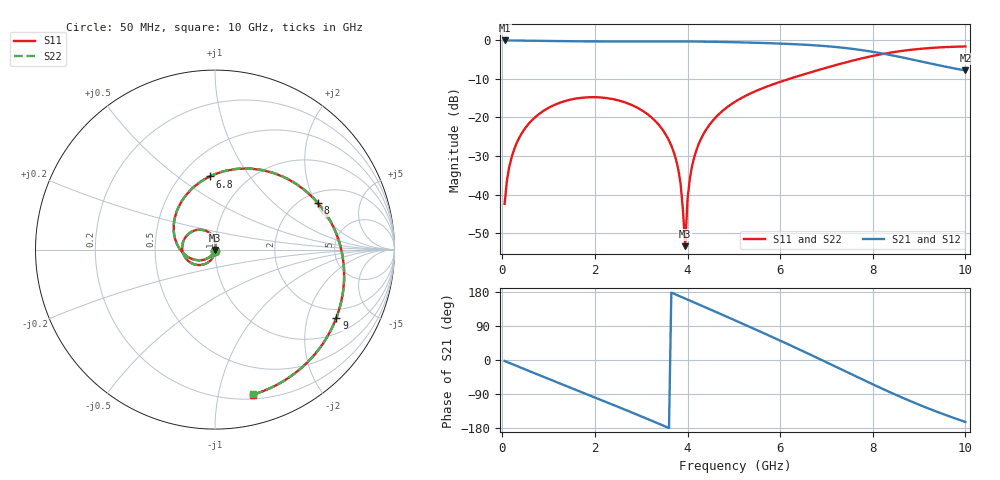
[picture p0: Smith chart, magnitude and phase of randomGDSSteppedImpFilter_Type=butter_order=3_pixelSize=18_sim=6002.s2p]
! freq	dB(S11)	phase(S11)	dB(S12)	phase(S12)
!  dB(S21)	phase(S21)	dB(S22)	phase(S22)
!S-par simulation data
#  GHz  S  DB  R 50
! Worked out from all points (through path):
!   200 points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, 50 MHz to 10 GHz, reference 50 ohm
!   highest |S21| = -0.01 dB at 50 MHz (marker M1); lowest = -7.8 dB at 10 GHz (marker M2)
!   group delay of S21, straight-line fit = 149 ps
!   lowest |S11| = -53.4 dB at 3.95 GHz (marker M3), VSWR 1.00, Z = 50.1 - j0.162 ohm
!   |S11| at or under -10 dB: start of sweep to 6.192 GHz
!   |S22| runs from -53.2 to -1.6 dB; largest |S21 - S12| = 0
!   S11 on the Smith chart (normalised r, x): 50 MHz: 1.00, -0.02; 6.8 GHz: 0.68, +0.67; 8 GHz: 2.42, +2.08; 9 GHz: 1.60, -3.05; 10 GHz: 0.24, -1.27
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0.05  -42.41 -92.1  -0.01 -2.6  -0.01 -2.6  -42.41 -92.1
0.2  -30.41 -100.2  -0.03 -10.1  -0.03 -10.1  -30.41 -100.2
0.5  -22.69 -115.6  -0.06 -25.1  -0.06 -25.1  -22.69 -115.5
1.15  -16.61 -148.1  -0.16 -57.3  -0.16 -57.3  -16.61 -148.0
1.75  -14.84 -177.7  -0.25 -86.7  -0.25 -86.7  -14.84 -177.5
2.5  -15.54 145.3  -0.27 -123.6  -0.27 -123.6  -15.54 145.6
3.4  -22.21 99.6  -0.24 -169.2  -0.24 -169.2  -22.21 100.4
3.8  -33.44 77.9  -0.25 170.0  -0.25 170.0  -33.44 80.9
3.85  -37.16 74.7  -0.25 167.4  -0.25 167.4  -37.16 79.2
3.95  -53.40 -49.1  -0.26 162.1  -0.26 162.1  -53.20 -169.3
4  -41.28 -108.5  -0.26 159.5  -0.26 159.5  -41.26 -115.5
4.05  -35.82 -112.6  -0.27 156.8  -0.27 156.8  -35.81 -116.1
4.2  -28.19 -121.4  -0.29 148.9  -0.29 148.9  -28.19 -122.7
4.55  -20.76 -140.5  -0.35 130.2  -0.35 130.2  -20.76 -140.9
5.05  -15.74 -167.7  -0.47 103.3  -0.47 103.3  -15.74 -167.7
5.8  -11.59 150.9  -0.73 62.3  -0.73 62.3  -11.59 151.1
6.7  -8.13 99.6  -1.23 11.4  -1.23 11.4  -8.13 100.1
6.8  -7.77 93.8  -1.31 5.6  -1.31 5.6  -7.77 94.3
8  -4.03 24.3  -2.96 -64.2  -2.96 -64.2  -4.03 24.7
8.35  -3.23 4.8  -3.71 -83.8  -3.71 -83.8  -3.23 5.1
9  -2.21 -29.3  -5.35 -118.0  -5.35 -118.0  -2.21 -29.0
10  -1.56 -75.3  -7.78 -163.6  -7.78 -163.6  -1.57 -75.1
